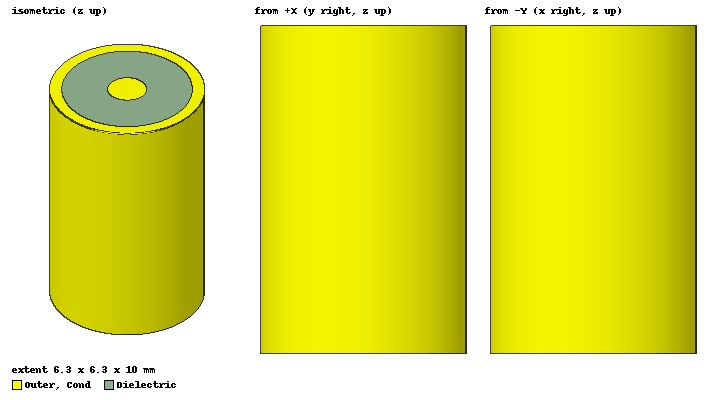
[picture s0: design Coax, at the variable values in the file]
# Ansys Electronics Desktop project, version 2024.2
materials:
  vacuum: permittivity=1
  Teflon (tm): permittivity=2.1 dielectric_loss_tangent=0.001
  copper: permeability=0.999991 conductivity=58000000

design Coax (HFSS, HFSS Terminal Network, model units mm)
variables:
  Hout = 10mm
  Hdia = 10mm
  Rout = 3.15mm
  Rdia = 2.65mm
  Hcond = 10mm
  Rcond = 0.79mm
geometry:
  Outer [copper] = cylinder(axis=Z, base_centre=(0mm, 0mm, 0mm), radius=Rout, height=Hout)
  Cylinder1 = cylinder(axis=Z, base_centre=(0mm, 0mm, 0mm), radius=Rdia, height=Hdia)
  Outer.subtract(Cylinder1)
  Dielectric [Teflon (tm)] = cylinder(axis=Z, base_centre=(0mm, 0mm, 0mm), radius=Rdia, height=Hdia)
  Cond [copper] = cylinder(axis=Z, base_centre=(0mm, 0mm, 0mm), radius=Rcond, height=Hcond)
  Cylinder2_1 = Cond.copy()
  Dielectric.subtract(Cylinder2_1)
